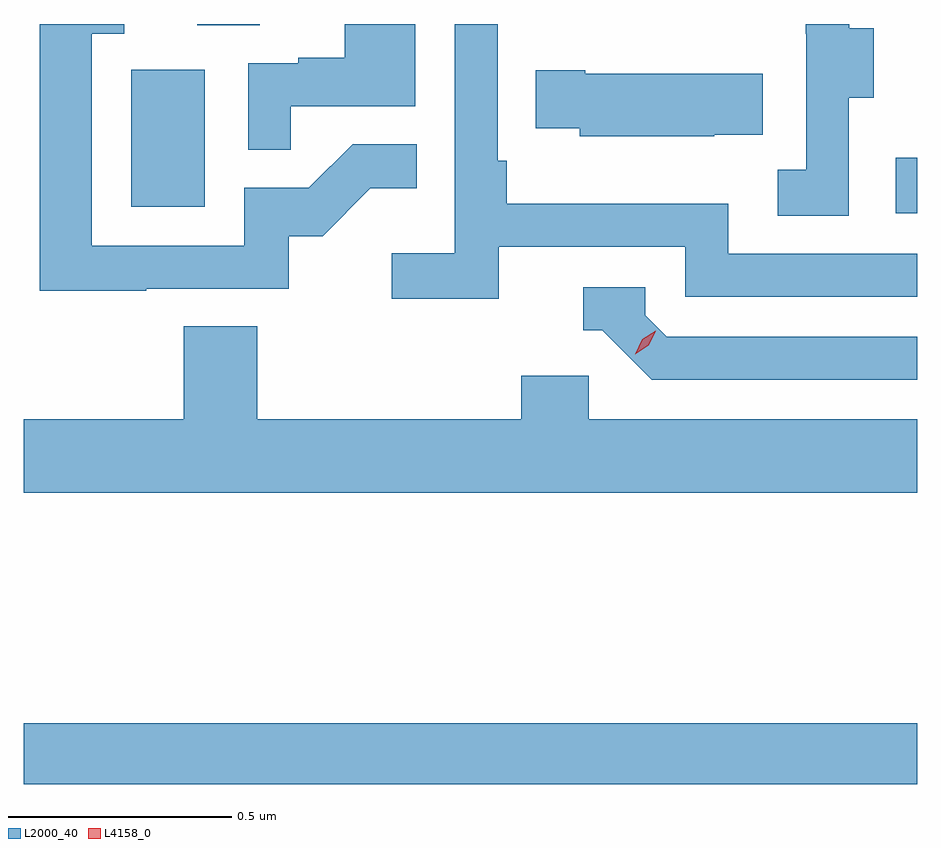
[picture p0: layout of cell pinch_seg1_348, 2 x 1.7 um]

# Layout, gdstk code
import gdstk
lib = gdstk.Library(unit=1e-6, precision=1e-09)
def R(c, l, rs):  # rectangles x0, y0, x1, y1
    for r in rs: c.add(gdstk.rectangle(r[:2], r[2:], *l))
def P(c, l, *ps):  # polygons
    for p in ps: c.add(gdstk.Polygon(p, *l))
L2000_40 = (2000, 40)
L4158_0 = (4158, 0)

pinch_seg1_348 = lib.new_cell('pinch_seg1_348')
R(pinch_seg1_348, L2000_40, [(969.385,553.744,971.385,553.88), (971.337,555.021,971.385,555.146), (969.626,555.036,969.79,555.343), (969.773,555.442,969.913,555.445)])
P(pinch_seg1_348, L2000_40, [(970.448,554.946),(970.866,554.946),(970.866,554.835),(971.385,554.835),(971.385,554.931),(970.962,554.931),(970.962,555.043),(970.466,555.043),(970.466,555.139),(970.446,555.139),(970.446,555.445),(970.35,555.445),(970.35,554.932),(970.209,554.932),(970.209,554.83),(970.448,554.83)],
  [(969.983,555.261),(970.261,555.261),(970.261,555.445),(970.103,555.445),(970.103,555.37),(969.999,555.37),(969.999,555.357),(969.888,555.357),(969.888,555.163),(969.983,555.163)],
  [(969.659,554.853),(969.978,554.853),(969.978,554.97),(970.054,554.97),(970.161,555.077),(970.265,555.077),(970.265,555.176),(970.121,555.176),(970.023,555.078),(969.879,555.078),(969.879,554.949),(969.537,554.949),(969.537,555.423),(969.61,555.423),(969.61,555.445),(969.421,555.445),(969.421,554.848),(969.659,554.848)],
  [(971.232,555.28),(971.287,555.28),(971.287,555.435),(971.233,555.435),(971.233,555.445),(971.135,555.445),(971.135,555.423),(971.136,555.423),(971.136,555.119),(971.073,555.119),(971.073,555.016),(971.232,555.016)],
  [(970.931,555.197),(971.039,555.197),(971.039,555.334),(970.642,555.334),(970.642,555.342),(970.531,555.342),(970.531,555.212),(970.629,555.212),(970.629,555.194),(970.931,555.194)],
  [(971.385,554.745),(970.824,554.745),(970.776,554.793),(970.776,554.856),(970.637,554.856),(970.637,554.76),(970.68,554.76),(970.791,554.649),(971.385,554.649)],
  [(971.385,554.56),(970.65,554.56),(970.65,554.658),(970.499,554.658),(970.499,554.56),(969.908,554.56),(969.908,554.768),(969.743,554.768),(969.743,554.56),(969.385,554.56),(969.385,554.396),(971.385,554.396)])
P(pinch_seg1_348, L4158_0, [(970.754,554.706),(970.754,554.706),(970.769,554.739),(970.8,554.759),(970.8,554.759),(970.8,554.759),(970.784,554.726),(970.754,554.706)])

lib.write_gds('pinch_seg1_348.gds')
